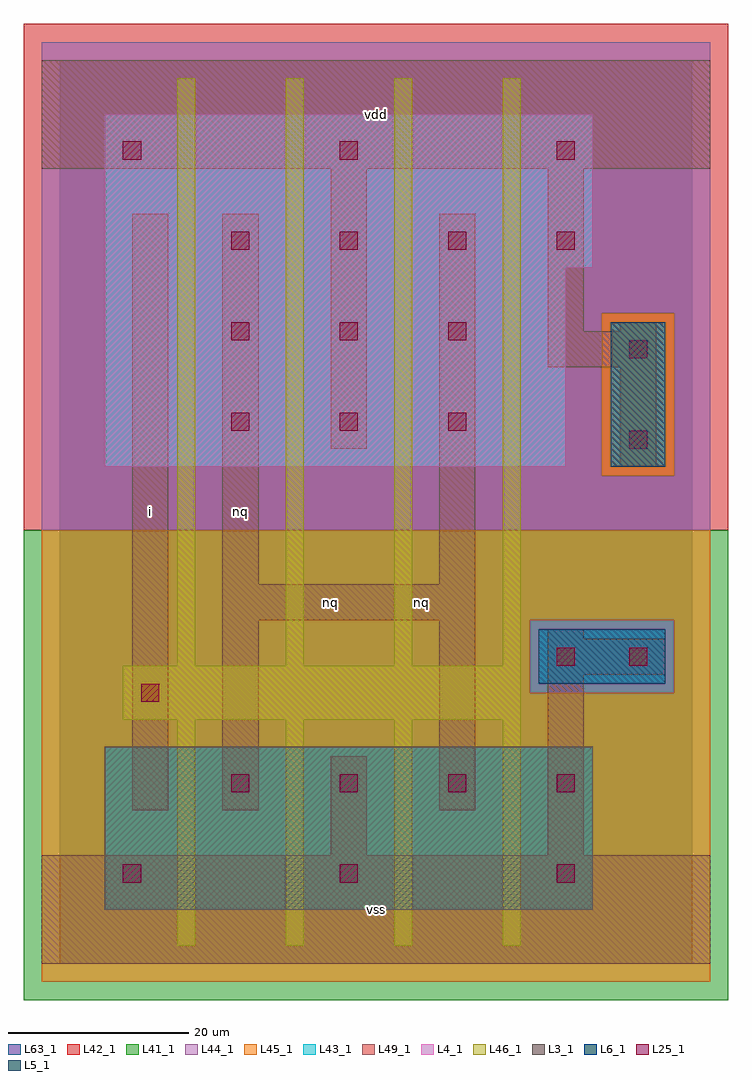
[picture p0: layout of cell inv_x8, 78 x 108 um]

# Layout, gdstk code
import gdstk
lib = gdstk.Library(unit=1e-6, precision=1e-09)
def R(c, l, rs):  # rectangles x0, y0, x1, y1
    for r in rs: c.add(gdstk.rectangle(r[:2], r[2:], *l))
def A(c, l, x, y, w, h, nx, ny, dx, dy):  # array of equal rectangles
    R(c, l, [(x+i*dx, y+j*dy, x+i*dx+w, y+j*dy+h) for i in range(nx) for j in range(ny)])
L3_1 = (3, 1)
L4_1 = (4, 1)
L5_1 = (5, 1)
L6_1 = (6, 1)
L25_1 = (25, 1)
L41_1 = (41, 1)
L42_1 = (42, 1)
L43_1 = (43, 1)
L44_1 = (44, 1)
L45_1 = (45, 1)
L46_1 = (46, 1)
L49_1 = (49, 1)
L63_1 = (63, 1)

inv_x8 = lib.new_cell('inv_x8')
R(inv_x8, L3_1, [(5,6,59,24)])
R(inv_x8, L4_1, [(5,55,56,77), (5,77,59,94)])
R(inv_x8, L5_1, [(61,55,67,71)])
R(inv_x8, L6_1, [(53,31,67,37), (53,31,67,37)])
A(inv_x8, L25_1, 7, 9, 2, 2, 3, 2, 24, 80)
A(inv_x8, L25_1, 19, 19, 2, 2, 4, 2, 12, 60)
A(inv_x8, L25_1, 19, 59, 2, 2, 3, 2, 12, 10)
R(inv_x8, L25_1, [(9,29,11,31), (55,33,57,35), (63,33,65,35), (63,57,65,59), (63,67,65,69)])
R(inv_x8, L41_1, [(-4,-4,74,48)])
R(inv_x8, L42_1, [(-4,48,74,104)])
R(inv_x8, L43_1, [(5,6,59,24), (53,31,67,37), (5,55,56,77), (61,55,67,71), (5,77,59,94)])
R(inv_x8, L44_1, [(52,30,68,38), (-2,48,72,54), (-2,54,60,72), (68,54,72,72), (-2,72,72,102)])
R(inv_x8, L45_1, [(-2,-2,72,30), (-2,30,52,38), (68,30,72,38), (-2,38,72,48), (60,54,68,72)])
A(inv_x8, L46_1, 13, 2, 2, 25, 4, 1, 12, 0)
A(inv_x8, L46_1, 13, 33, 2, 65, 4, 1, 12, 0)
R(inv_x8, L46_1, [(7,27,51,33)])
R(inv_x8, L49_1, [(-2,0,72,12), (30,12,34,23), (54,12,58,32), (8,17,12,83), (18,17,22,38), (42,17,46,38), (54,32,67,36), (54,36,58,37), (18,38,46,42), (18,42,22,83), (42,42,46,83), (62,55,66,66), (30,57,34,88), (54,66,66,70), (54,70,58,88), (62,70,66,71), (-2,88,72,100)])
R(inv_x8, L63_1, [(0,0,70,100)])
inv_x8.add(gdstk.Label('i', (10,50), layer=49, texttype=1))
inv_x8.add(gdstk.Label('nq', (30,40), layer=49, texttype=1))
inv_x8.add(gdstk.Label('nq', (20,50), layer=49, texttype=1))
inv_x8.add(gdstk.Label('vss', (35,6), layer=49, texttype=1))
inv_x8.add(gdstk.Label('nq', (40,40), layer=49, texttype=1))
inv_x8.add(gdstk.Label('vdd', (35,94), layer=49, texttype=1))

lib.write_gds('inv_x8.gds')
